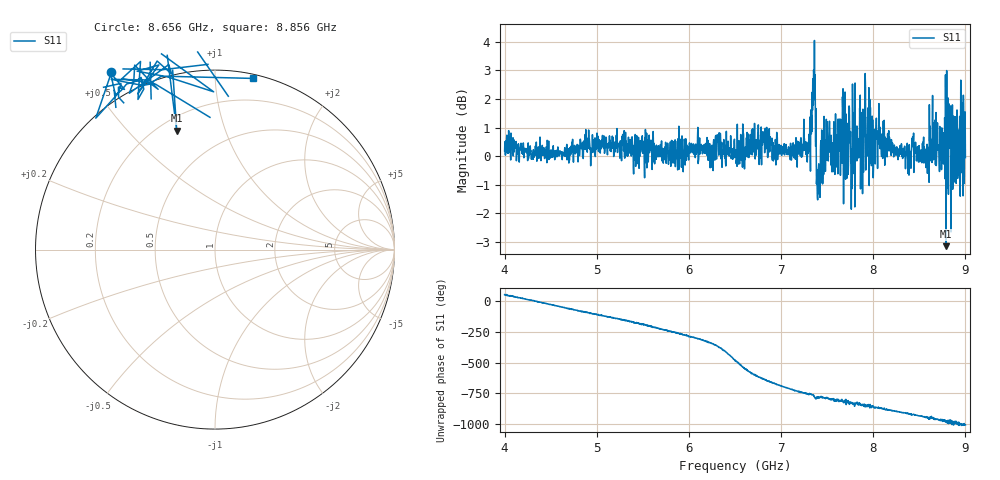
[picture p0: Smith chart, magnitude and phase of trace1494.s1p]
! Created with skrf 1.8.0 (http://scikit-rf.org).
# Hz S RI R 50.0
!freq ReS11 ImS11
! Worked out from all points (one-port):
!   1601 points, 4 GHz to 9 GHz, reference 50 ohm
!   lowest |S11| = -3.1 dB at 8.791 GHz (marker M1), VSWR 5.58, Z = 13.5 + j34.7 ohm
!   |S11| at or under -10 dB: nowhere
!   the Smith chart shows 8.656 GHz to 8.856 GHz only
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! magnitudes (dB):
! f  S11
! 4 GHz  0.2
! 4.625 GHz  -0.1
! 5.25 GHz  -0.1
! 5.875 GHz  0.5
! 6.5 GHz  0.0
! 6.825 GHz  0.5
! 7.125 GHz  0.3
! 7.294 GHz  0.1
! 7.347 GHz  2.2
! 7.362 GHz  4.0
! 7.409 GHz  -0.3
! 7.512 GHz  -0.2
! 7.559 GHz  0.5
! 7.672 GHz  2.4
! 7.75 GHz  0.5
! 7.909 GHz  1.1
! 7.928 GHz  0.6
! 7.981 GHz  -0.3
! 8.05 GHz  0.8
! 8.375 GHz  0.0
! 8.441 GHz  -0.6
! 8.581 GHz  -0.1
! 8.634 GHz  0.6
! 8.791 GHz  -3.1
! 8.819 GHz  0.9
! 8.869 GHz  0.0
! 8.972 GHz  0.8
! 9 GHz  0.0
